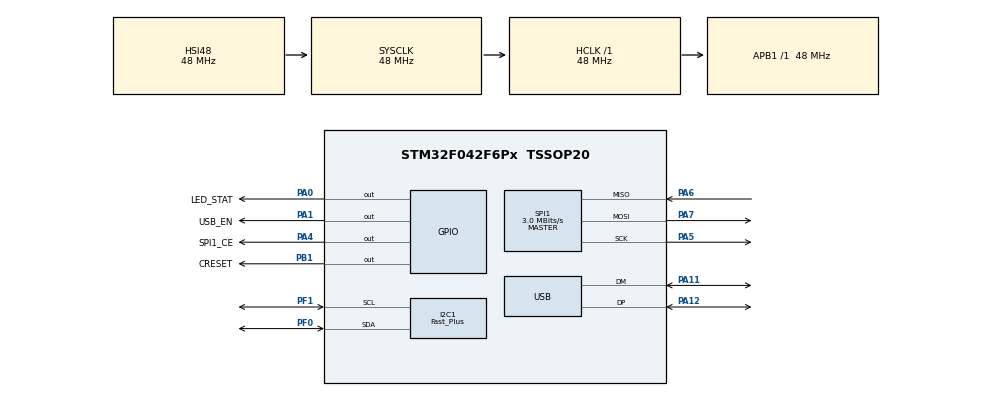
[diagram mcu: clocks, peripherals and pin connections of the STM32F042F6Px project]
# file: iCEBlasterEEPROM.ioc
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I2C1.I2C_Speed_Mode=I2C_Fast_Plus
I2C1.Speed=400
I2C1.Timing=0x0000000D
Mcu.Family=STM32F0
Mcu.Name=STM32F042F6Px
Mcu.Package=TSSOP20
NVIC.USB_IRQn=true\:0\:0\:false\:false\:true\:false\:true\:true
PA0.GPIO_Label=LED_STAT
PA0.Signal=GPIO_Output
PA1.GPIO_Label=USB_EN
PA1.GPIO_ModeDefaultOutputPP=GPIO_MODE_OUTPUT_OD
PA1.GPIO_PuPd=GPIO_NOPULL
PA1.PinState=GPIO_PIN_SET
PA1.Signal=GPIO_Output
PA11.Mode=Device
PA11.Signal=USB_DM
PA12.Mode=Device
PA12.Signal=USB_DP
PA13.Mode=Serial_Wire
PA13.Signal=SYS_SWDIO
PA14.Mode=Serial_Wire
PA14.Signal=SYS_SWCLK
PA4.GPIO_Label=SPI1_CE
PA4.Signal=GPIO_Output
PA5.Mode=Full_Duplex_Master
PA5.Signal=SPI1_SCK
PA6.Mode=Full_Duplex_Master
PA6.Signal=SPI1_MISO
PA7.Mode=Full_Duplex_Master
PA7.Signal=SPI1_MOSI
PB1.GPIO_Label=CRESET
PB1.Signal=GPIO_Output
PF0-OSC_IN.Mode=I2C
PF0-OSC_IN.Signal=I2C1_SDA
PF1-OSC_OUT.Mode=I2C
PF1-OSC_OUT.Signal=I2C1_SCL
ProjectManager.HeapSize=0x200
ProjectManager.StackSize=0x400
ProjectManager.TargetToolchain=STM32CubeIDE
RCC.AHBFreq_Value=48000000
RCC.APB1Freq_Value=48000000
RCC.APB1TimFreq_Value=48000000
RCC.HCLKFreq_Value=48000000
RCC.SYSCLKFreq_VALUE=48000000
RCC.SYSCLKSource=RCC_SYSCLKSOURCE_HSI48
SPI1.BaudRatePrescaler=SPI_BAUDRATEPRESCALER_16
SPI1.CalculateBaudRate=3.0 MBits/s
SPI1.DataSize=SPI_DATASIZE_8BIT
SPI1.Direction=SPI_DIRECTION_2LINES
SPI1.Mode=SPI_MODE_MASTER
SPI1.VirtualType=VM_MASTER
USB_DEVICE.CLASS_NAME_FS=MSC
USB_DEVICE.MANUFACTURER_STRING=TinLethax
USB_DEVICE.PID_MSC_FS=0x2069
USB_DEVICE.PRODUCT_STRING_MSC_FS=iCEBlaster
USB_DEVICE.VID=0x1209
USB_DEVICE.VirtualMode=Msc
USB_DEVICE.VirtualModeFS=Msc_FS
VP_SYS_VS_PINREMAP.Mode=PINREMAP
VP_USB_DEVICE_VS_USB_DEVICE_MSC_FS.Mode=MSC_FS
board=custom

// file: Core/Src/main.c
/* USER CODE BEGIN Header */
/**
  ******************************************************************************
  * @file           : main.c
  * @brief          : Main program body
  ******************************************************************************
  * @attention
  *
  * Copyright (c) 2023 STMicroelectronics.
  * All rights reserved.
  *
  * This software is licensed under terms that can be found in the LICENSE file
  * in the root directory of this software component.
  * If no LICENSE file comes with this software, it is provided AS-IS.
  *
  ******************************************************************************
  */
/* USER CODE END Header */
#include "main.h"
#include "usb_device.h"

/* USER CODE BEGIN Includes */
#include <stdint.h>
/* USER CODE END Includes */

I2C_HandleTypeDef hi2c1;

SPI_HandleTypeDef hspi1;

/* USER CODE BEGIN PV */
uint8_t reset_flag;
uint8_t eeprom_buf[255];
uint8_t eeprom_dev_addr = EEPROM_ADDR; // ROHM BR24G1MF 128KBytes I2C EEPROM (Running at 400KHz).
uint32_t eeprom_addr = 0;

const uint8_t dummy[19] = {0};// dummy byte to kick start bit stream loading process.

/* USER CODE END PV */

void SystemClock_Config(void);
static void MX_GPIO_Init(void);
static void MX_I2C1_Init(void);
static void MX_SPI1_Init(void);

/* USER CODE BEGIN 0 */
void iCE40_flash(){
	uint16_t end_addr = 256;
	HAL_I2C_Mem_Read(&hi2c1, EEPROM_ADDR, 0, I2C_MEMADD_SIZE_16BIT, eeprom_buf, 256, HAL_MAX_DELAY);
		for(uint8_t i=0; i < 255; i++){// Looking for bitstream preamble on EEPROM. If found, send it to FPGA.
			if(*(eeprom_buf+i) == 0x7E){
				if(*(eeprom_buf+1+i) == 0xAA){
					if(*(eeprom_buf+2+i) == 0x99){
						if(*(eeprom_buf+3+i) == 0x7E){
							HAL_GPIO_WritePin(LED_STAT_GPIO_Port, LED_STAT_Pin, 1);// Turn Status LED on.
							goto flash;
						}
					}
				}
			}
		}

		goto ret;

		flash:
		// LED status off
		HAL_GPIO_WritePin(LED_STAT_GPIO_Port, LED_STAT_Pin, GPIO_PIN_RESET);

		/* This part is reset sequence of iCE40 FPGA
		 * CE low
		 * CRESET low
		 * delay 2ms
		 * CRESET high
		 * delay 200ms
		 * SPI TX
		 */

		HAL_GPIO_WritePin(SPI1_CE_GPIO_Port, SPI1_CE_Pin, GPIO_PIN_RESET);
		HAL_GPIO_WritePin(CRESET_GPIO_Port, CRESET_Pin, GPIO_PIN_RESET);
		HAL_Delay(2);
		HAL_GPIO_WritePin(CRESET_GPIO_Port, CRESET_Pin, GPIO_PIN_SET);
		HAL_Delay(250);

		do{
			HAL_GPIO_TogglePin(LED_STAT_GPIO_Port, LED_STAT_Pin);
			HAL_I2C_Mem_Read(&hi2c1, eeprom_dev_addr, (uint16_t)eeprom_addr, I2C_MEMADD_SIZE_16BIT, eeprom_buf, 256, HAL_MAX_DELAY);
			for(uint16_t i=0; i < 256; i++){// Looking for bitstream endding on EEPROM.
				if(*(eeprom_buf+i) == 0x01){
					if(*(eeprom_buf+1+i) == 0x06){
						if(*(eeprom_buf+2+i) == 0x00){
							end_addr = i+3;
						}
					}
				}
			}
			HAL_SPI_Transmit(&hspi1, eeprom_buf, end_addr, HAL_MAX_DELAY);// SPI TX
			eeprom_addr += 256;
			if(eeprom_addr > 65535)
					eeprom_dev_addr = 0xA2;
		}while(end_addr == 256);
		eeprom_dev_addr = EEPROM_ADDR;
		eeprom_addr = 0;
		HAL_SPI_Transmit(&hspi1, dummy, 19, HAL_MAX_DELAY);// Send dummy bytes to kickstart iCE40
		HAL_GPIO_WritePin(SPI1_CE_GPIO_Port, SPI1_CE_Pin, GPIO_PIN_SET);

		ret:
		return;

}
/* USER CODE END 0 */

int main(void)
{

  /* MCU Configuration--------------------------------------------------------*/

  /* Reset of all peripherals, Initializes the Flash interface and the Systick. */
  HAL_Init();

  /* Configure the system clock */
  SystemClock_Config();

  /* Initialize all configured peripherals */
  MX_GPIO_Init();
  MX_I2C1_Init();
  MX_SPI1_Init();
  MX_USB_DEVICE_Init();
  /* USER CODE BEGIN 2 */
  HAL_GPIO_WritePin(SPI1_CE_GPIO_Port, SPI1_CE_Pin, 1);// Release SPI CE.
  HAL_GPIO_WritePin(CRESET_GPIO_Port, CRESET_Pin, 1);// Release FPGA's CRESET.
  iCE40_flash();// iCE40 will start if there's bitstream on the EEPROM. LED will on if bitstream were found on the EEPROM
  HAL_GPIO_WritePin(USB_EN_GPIO_Port, USB_EN_Pin, 1);// Enable USB to enumerate USB. By release open drain output
  /* USER CODE END 2 */

  /* Infinite loop */
  while (1)
  {

    /* USER CODE BEGIN 3 */
	  if(reset_flag == 1){// if receive USB reset flag after Bitstream loaded.
		  iCE40_flash();// Upload bitstream to FPGA after USB transfered Bitstream to EEPROM.
		  // Auto USB reconnect.
		  HAL_Delay(200);
		  HAL_GPIO_WritePin(USB_EN_GPIO_Port, USB_EN_Pin, 0);
		  HAL_Delay(100);
		  HAL_GPIO_WritePin(USB_EN_GPIO_Port, USB_EN_Pin, 1);
		  reset_flag = 0;
	  }
  }
  /* USER CODE END 3 */
}

void SystemClock_Config(void)
{
  RCC_OscInitTypeDef RCC_OscInitStruct = {0};
  RCC_ClkInitTypeDef RCC_ClkInitStruct = {0};
  RCC_PeriphCLKInitTypeDef PeriphClkInit = {0};

  /** Initializes the RCC Oscillators according to the specified parameters
  * in the RCC_OscInitTypeDef structure.
  */
  RCC_OscInitStruct.OscillatorType = RCC_OSCILLATORTYPE_HSI|RCC_OSCILLATORTYPE_HSI48;
  RCC_OscInitStruct.HSIState = RCC_HSI_ON;
  RCC_OscInitStruct.HSI48State = RCC_HSI48_ON;
  RCC_OscInitStruct.HSICalibrationValue = RCC_HSICALIBRATION_DEFAULT;
  RCC_OscInitStruct.PLL.PLLState = RCC_PLL_NONE;
  if (HAL_RCC_OscConfig(&RCC_OscInitStruct) != HAL_OK)
  {
    Error_Handler();
  }

  /** Initializes the CPU, AHB and APB buses clocks
  */
  RCC_ClkInitStruct.ClockType = RCC_CLOCKTYPE_HCLK|RCC_CLOCKTYPE_SYSCLK
                              |RCC_CLOCKTYPE_PCLK1;
  RCC_ClkInitStruct.SYSCLKSource = RCC_SYSCLKSOURCE_HSI48;
  RCC_ClkInitStruct.AHBCLKDivider = RCC_SYSCLK_DIV1;
  RCC_ClkInitStruct.APB1CLKDivider = RCC_HCLK_DIV1;

  if (HAL_RCC_ClockConfig(&RCC_ClkInitStruct, FLASH_LATENCY_1) != HAL_OK)
  {
    Error_Handler();
  }
  PeriphClkInit.PeriphClockSelection = RCC_PERIPHCLK_USB|RCC_PERIPHCLK_I2C1;
  PeriphClkInit.I2c1ClockSelection = RCC_I2C1CLKSOURCE_HSI;
  PeriphClkInit.UsbClockSelection = RCC_USBCLKSOURCE_HSI48;

  if (HAL_RCCEx_PeriphCLKConfig(&PeriphClkInit) != HAL_OK)
  {
    Error_Handler();
  }
}

static void MX_I2C1_Init(void)
{

  hi2c1.Instance = I2C1;
  hi2c1.Init.Timing = 0x0000000D;
  hi2c1.Init.OwnAddress1 = 0;
  hi2c1.Init.AddressingMode = I2C_ADDRESSINGMODE_7BIT;
  hi2c1.Init.DualAddressMode = I2C_DUALADDRESS_DISABLE;
  hi2c1.Init.OwnAddress2 = 0;
  hi2c1.Init.OwnAddress2Masks = I2C_OA2_NOMASK;
  hi2c1.Init.GeneralCallMode = I2C_GENERALCALL_DISABLE;
  hi2c1.Init.NoStretchMode = I2C_NOSTRETCH_DISABLE;
  if (HAL_I2C_Init(&hi2c1) != HAL_OK)
  {
    Error_Handler();
  }

  /** Configure Analogue filter
  */
  if (HAL_I2CEx_ConfigAnalogFilter(&hi2c1, I2C_ANALOGFILTER_ENABLE) != HAL_OK)
  {
    Error_Handler();
  }

  /** Configure Digital filter
  */
  if (HAL_I2CEx_ConfigDigitalFilter(&hi2c1, 0) != HAL_OK)
  {
    Error_Handler();
  }

  /** I2C Fast mode Plus enable
  */
  __HAL_SYSCFG_FASTMODEPLUS_ENABLE(I2C_FASTMODEPLUS_I2C1);

}

static void MX_SPI1_Init(void)
{

  /* SPI1 parameter configuration*/
  hspi1.Instance = SPI1;
  hspi1.Init.Mode = SPI_MODE_MASTER;
  hspi1.Init.Direction = SPI_DIRECTION_2LINES;
  hspi1.Init.DataSize = SPI_DATASIZE_8BIT;
  hspi1.Init.CLKPolarity = SPI_POLARITY_LOW;
  hspi1.Init.CLKPhase = SPI_PHASE_1EDGE;
  hspi1.Init.NSS = SPI_NSS_SOFT;
  hspi1.Init.BaudRatePrescaler = SPI_BAUDRATEPRESCALER_16;
  hspi1.Init.FirstBit = SPI_FIRSTBIT_MSB;
  hspi1.Init.TIMode = SPI_TIMODE_DISABLE;
  hspi1.Init.CRCCalculation = SPI_CRCCALCULATION_DISABLE;
  hspi1.Init.CRCPolynomial = 7;
  hspi1.Init.CRCLength = SPI_CRC_LENGTH_DATASIZE;
  hspi1.Init.NSSPMode = SPI_NSS_PULSE_ENABLE;
  if (HAL_SPI_Init(&hspi1) != HAL_OK)
  {
    Error_Handler();
  }

}

static void MX_GPIO_Init(void)
{
  GPIO_InitTypeDef GPIO_InitStruct = {0};

  /* GPIO Ports Clock Enable */
  __HAL_RCC_GPIOF_CLK_ENABLE();
  __HAL_RCC_GPIOA_CLK_ENABLE();
  __HAL_RCC_GPIOB_CLK_ENABLE();

  /*Configure GPIO pin Output Level */
  HAL_GPIO_WritePin(GPIOA, LED_STAT_Pin|SPI1_CE_Pin, GPIO_PIN_RESET);

  /*Configure GPIO pin Output Level */
  HAL_GPIO_WritePin(USB_EN_GPIO_Port, USB_EN_Pin, GPIO_PIN_SET);

  /*Configure GPIO pin Output Level */
  HAL_GPIO_WritePin(CRESET_GPIO_Port, CRESET_Pin, GPIO_PIN_RESET);

  /*Configure GPIO pins : LED_STAT_Pin SPI1_CE_Pin */
  GPIO_InitStruct.Pin = LED_STAT_Pin|SPI1_CE_Pin;
  GPIO_InitStruct.Mode = GPIO_MODE_OUTPUT_PP;
  GPIO_InitStruct.Pull = GPIO_NOPULL;
  GPIO_InitStruct.Speed = GPIO_SPEED_FREQ_LOW;
  HAL_GPIO_Init(GPIOA, &GPIO_InitStruct);

  /*Configure GPIO pin : USB_EN_Pin */
  GPIO_InitStruct.Pin = USB_EN_Pin;
  GPIO_InitStruct.Mode = GPIO_MODE_OUTPUT_OD;
  GPIO_InitStruct.Pull = GPIO_NOPULL;
  GPIO_InitStruct.Speed = GPIO_SPEED_FREQ_LOW;
  HAL_GPIO_Init(USB_EN_GPIO_Port, &GPIO_InitStruct);

  /*Configure GPIO pin : CRESET_Pin */
  GPIO_InitStruct.Pin = CRESET_Pin;
  GPIO_InitStruct.Mode = GPIO_MODE_OUTPUT_PP;
  GPIO_InitStruct.Pull = GPIO_NOPULL;
  GPIO_InitStruct.Speed = GPIO_SPEED_FREQ_LOW;
  HAL_GPIO_Init(CRESET_GPIO_Port, &GPIO_InitStruct);

}

void Error_Handler(void)
{
  __disable_irq();
  while (1)
  {
  }
}
